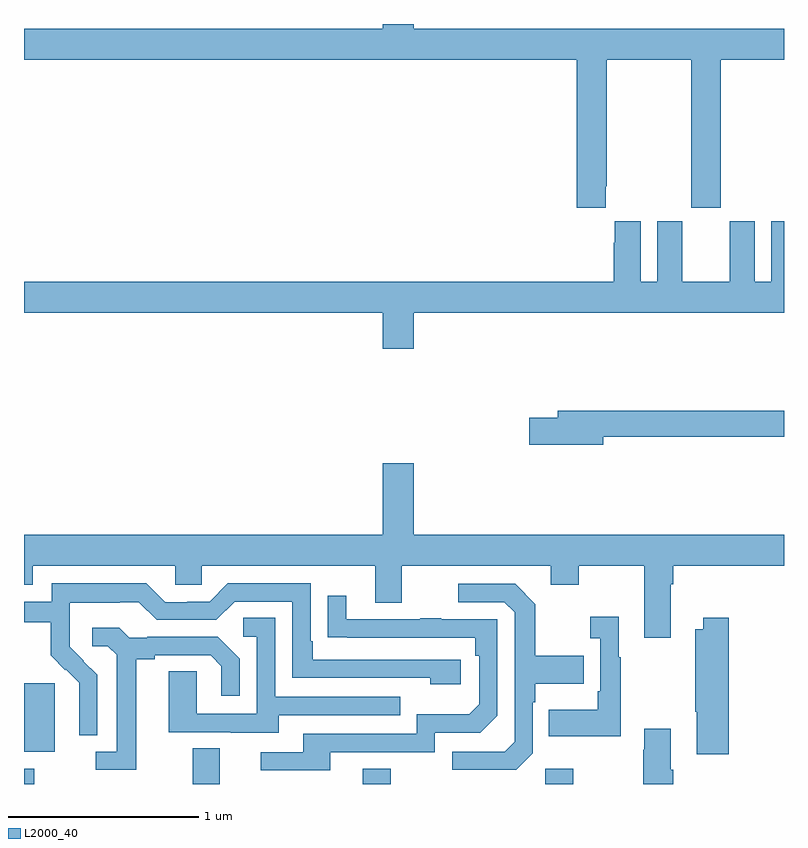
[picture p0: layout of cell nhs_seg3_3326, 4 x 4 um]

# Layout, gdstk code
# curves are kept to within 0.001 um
import gdstk
lib = gdstk.Library(unit=1e-6, precision=1e-09)
def R(c, l, rs):  # rectangles x0, y0, x1, y1
    for r in rs: c.add(gdstk.rectangle(r[:2], r[2:], *l))
def P(c, l, *ps):  # polygons
    for p in ps: c.add(gdstk.Polygon(p, *l))
L2000_40 = (2000, 40)

nhs_seg3_3326 = lib.new_cell('nhs_seg3_3326')
R(nhs_seg3_3326, L2000_40, [(283,734.4,283.053,734.479), (283.889,734.4,284.029,734.588), (284.783,734.4,284.931,734.479), (285.744,734.4,285.891,734.479), (283,734.57,283.162,734.931)])
P(nhs_seg3_3326, L2000_40, [(286.063,737.545),(286.068,737.545),(286.068,738.212),(286.513,738.212),(286.513,737.433),(286.668,737.433),(286.668,738.212),(287,738.212),(287,738.376),(285.052,738.376),(285.052,738.4),(284.888,738.4),(284.888,738.376),(283,738.376),(283,738.212),(285.908,738.212),(285.908,737.433),(286.063,737.433)],
  [(287,737.362),(286.934,737.362),(286.934,737.044),(286.846,737.044),(286.846,737.362),(286.715,737.362),(286.715,737.044),(286.465,737.044),(286.465,737.362),(286.334,737.362),(286.334,737.044),(286.246,737.044),(286.246,737.362),(286.109,737.362),(286.109,737.249),(286.103,737.249),(286.103,737.044),(283,737.044),(283,736.88),(284.888,736.88),(284.888,736.692),(285.052,736.692),(285.052,736.88),(287,736.88)],
  [(286.048,736.228),(287,736.228),(287,736.364),(285.809,736.364),(285.809,736.328),(285.66,736.328),(285.66,736.186),(286.048,736.186)],
  [(286.405,735.452),(286.418,735.452),(286.418,735.548),(287,735.548),(287,735.712),(285.052,735.712),(285.052,736.087),(284.888,736.087),(284.888,735.712),(283,735.712),(283,735.449),(283.045,735.449),(283.045,735.548),(283.797,735.548),(283.797,735.45),(283.935,735.45),(283.935,735.548),(284.849,735.548),(284.849,735.354),(284.989,735.354),(284.989,735.548),(285.773,735.548),(285.773,735.449),(285.921,735.449),(285.921,735.548),(286.265,735.548),(286.265,735.171),(286.405,735.171)],
  [(283.386,734.974),(283.24,735.122),(283.24,735.219),(283.242,735.219),(283.242,735.353),(283.505,735.353),(283.505,735.357),(283.605,735.357),(283.698,735.264),(284.013,735.264),(284.109,735.36),(284.412,735.36),(284.412,734.958),(285.137,734.958),(285.137,734.924),(285.298,734.924),(285.298,735.054),(284.521,735.054),(284.521,735.151),(284.508,735.151),(284.508,735.456),(284.073,735.456),(283.977,735.36),(283.859,735.36),(283.859,735.357),(283.743,735.357),(283.643,735.457),(283.146,735.457),(283.146,735.36),(283,735.36),(283,735.252),(283.141,735.252),(283.141,735.077),(283.218,735),(283.221,735.003),(283.292,734.933),(283.292,734.81),(283.29,734.81),(283.29,734.656),(283.386,734.656)],
  [(285.678,734.562),(285.678,734.831),(285.691,734.831),(285.691,734.927),(285.947,734.927),(285.947,735.075),(285.691,735.075),(285.691,735.347),(285.585,735.453),(285.285,735.453),(285.285,735.357),(285.528,735.357),(285.582,735.303),(285.582,734.622),(285.531,734.571),(285.255,734.571),(285.255,734.475),(285.591,734.475)],
  [(284.611,734.568),(285.162,734.568),(285.162,734.67),(285.402,734.67),(285.492,734.76),(285.492,735.267),(285.197,735.267),(285.197,735.272),(285.085,735.272),(285.085,735.267),(284.695,735.267),(284.695,735.391),(284.599,735.391),(284.599,735.172),(285.376,735.171),(285.376,735.074),(285.396,735.074),(285.396,734.82),(285.343,734.767),(285.066,734.767),(285.066,734.664),(284.471,734.664),(284.471,734.568),(284.247,734.568),(284.247,734.472),(284.611,734.472)],
  [(286.141,735.067),(286.129,735.067),(286.129,735.28),(285.981,735.28),(285.981,735.167),(286.032,735.167),(286.032,734.887),(286.02,734.887),(286.02,734.791),(285.763,734.791),(285.763,734.651),(286.141,734.651)],
  [(284.341,734.763),(284.981,734.763),(284.981,734.859),(284.322,734.859),(284.322,735.275),(284.154,735.275),(284.154,735.174),(284.226,735.174),(284.226,734.769),(283.908,734.769),(283.908,734.993),(283.763,734.993),(283.763,734.673),(284.087,734.673),(284.087,734.669),(284.341,734.669)],
  [(286.709,735.274),(286.574,735.274),(286.574,735.214),(286.534,735.214),(286.534,734.779),(286.541,734.779),(286.541,734.556),(286.709,734.556)],
  [(283.591,735.056),(283.687,735.056),(283.687,735.078),(283.982,735.078),(284.039,735.021),(284.039,734.865),(284.136,734.865),(284.136,735.058),(284.02,735.174),(283.648,735.174),(283.648,735.171),(283.554,735.171),(283.502,735.223),(283.359,735.223),(283.359,735.126),(283.44,735.126),(283.487,735.079),(283.487,734.571),(283.377,734.571),(283.377,734.475),(283.591,734.475)],
  [(286.418,734.476),(286.405,734.476),(286.405,734.692),(286.265,734.692),(286.265,734.579),(286.258,734.579),(286.258,734.4),(286.418,734.4)])

lib.write_gds('nhs_seg3_3326.gds')
